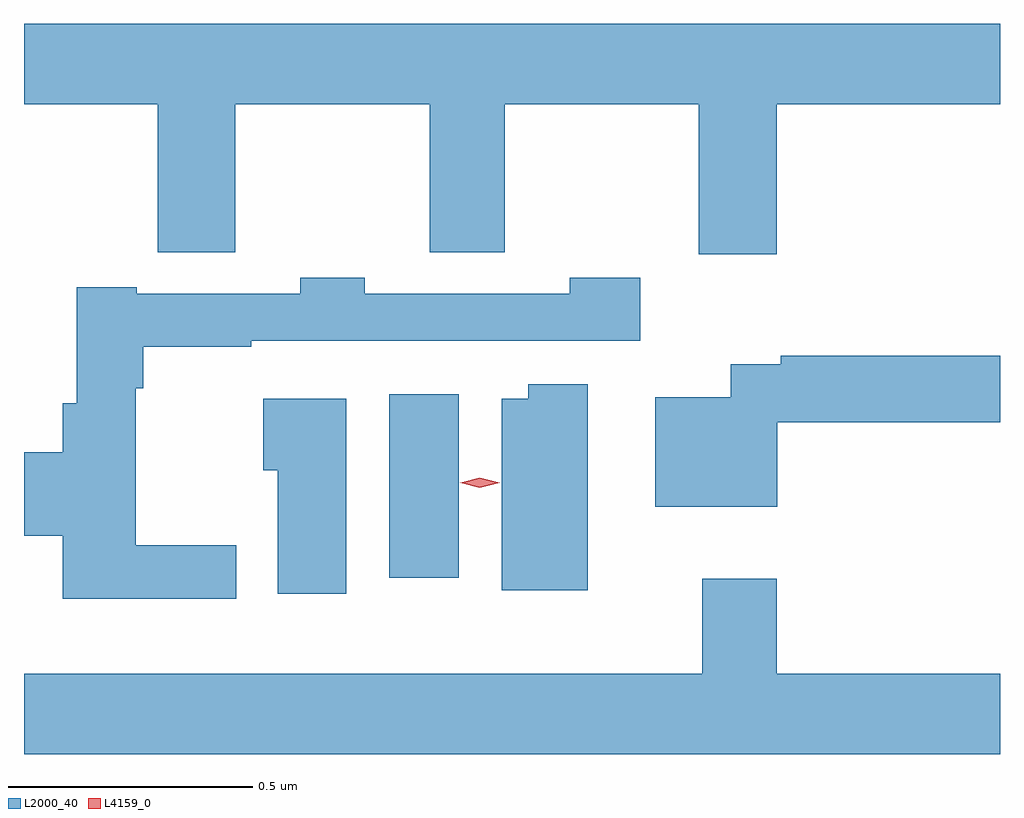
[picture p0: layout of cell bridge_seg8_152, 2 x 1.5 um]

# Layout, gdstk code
import gdstk
lib = gdstk.Library(unit=1e-6, precision=1e-09)
def R(c, l, rs):  # rectangles x0, y0, x1, y1
    for r in rs: c.add(gdstk.rectangle(r[:2], r[2:], *l))
def P(c, l, *ps):  # polygons
    for p in ps: c.add(gdstk.Polygon(p, *l))
L2000_40 = (2000, 40)
L4159_0 = (4159, 0)

bridge_seg8_152 = lib.new_cell('bridge_seg8_152')
R(bridge_seg8_152, L2000_40, [(507.899,1128.849,508.042,1129.225)])
P(bridge_seg8_152, L2000_40, [(508.694,1129.82),(509.151,1129.82),(509.151,1129.984),(507.151,1129.984),(507.151,1129.82),(507.425,1129.82),(507.425,1129.516),(507.584,1129.516),(507.584,1129.82),(507.982,1129.82),(507.982,1129.516),(508.136,1129.516),(508.136,1129.82),(508.534,1129.82),(508.534,1129.512),(508.694,1129.512)],
  [(507.586,1128.916),(507.38,1128.916),(507.38,1129.238),(507.395,1129.238),(507.395,1129.323),(507.617,1129.323),(507.617,1129.335),(508.414,1129.335),(508.414,1129.464),(508.269,1129.464),(508.269,1129.431),(507.849,1129.431),(507.849,1129.464),(507.717,1129.464),(507.717,1129.431),(507.382,1129.431),(507.382,1129.444),(507.259,1129.444),(507.259,1129.207),(507.23,1129.207),(507.23,1129.106),(507.151,1129.106),(507.151,1128.935),(507.23,1128.935),(507.23,1128.806),(507.586,1128.806)],
  [(508.695,1129.168),(509.151,1129.168),(509.151,1129.304),(508.702,1129.304),(508.702,1129.287),(508.599,1129.287),(508.599,1129.219),(508.445,1129.219),(508.445,1128.995),(508.695,1128.995)],
  [(508.306,1129.246),(508.184,1129.246),(508.184,1129.216),(508.13,1129.216),(508.13,1128.824),(508.306,1128.824)],
  [(507.811,1129.216),(507.641,1129.216),(507.641,1129.069),(507.671,1129.069),(507.671,1128.816),(507.811,1128.816)],
  [(509.151,1128.652),(508.694,1128.652),(508.694,1128.847),(508.541,1128.847),(508.541,1128.652),(507.151,1128.652),(507.151,1128.488),(509.151,1128.488)])
P(bridge_seg8_152, L4159_0, [(508.085,1129.034),(508.045,1129.044),(508.045,1129.044),(508.045,1129.044),(508.085,1129.054),(508.126,1129.044),(508.126,1129.044),(508.126,1129.044)])

lib.write_gds('bridge_seg8_152.gds')
